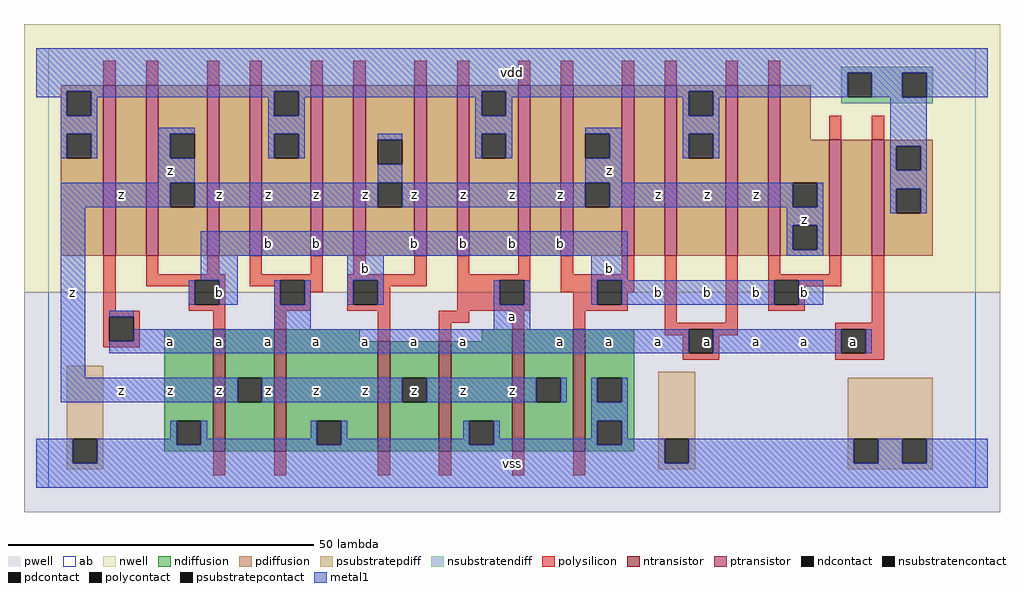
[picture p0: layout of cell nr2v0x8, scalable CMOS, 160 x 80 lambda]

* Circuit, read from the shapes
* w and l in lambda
.subckt nr2v0x8 a b vdd vss z
M1 z b vss vss nfet w=20 l=2 m=2
M2 vss a z vss nfet w=20 l=2 m=2
M3 z b vss vss nfet w=18 l=2
M4 vss a z vss nfet w=18 l=2
M5 n1 a vdd vdd pfet w=28 l=2
M6 z b n1 vdd pfet w=28 l=2
M7 n2 b z vdd pfet w=28 l=2
M8 vdd a n2 vdd pfet w=28 l=2
M9 n3 a vdd vdd pfet w=28 l=2
M10 z b n3 vdd pfet w=28 l=2
M11 n4 b z vdd pfet w=28 l=2
M12 vdd a n4 vdd pfet w=28 l=2
M13 n5 a vdd vdd pfet w=28 l=2
M14 z b n5 vdd pfet w=28 l=2
M15 n6 b z vdd pfet w=28 l=2
M16 vdd a n6 vdd pfet w=28 l=2
M17 n7 a vdd vdd pfet w=28 l=2
M18 z b n7 vdd pfet w=28 l=2
M19 n8 b z vdd pfet w=19 l=2
M20 vdd a n8 vdd pfet w=19 l=2
.ends

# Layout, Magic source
magic
tech scmos
<< ab >>
rect 0 0 152 72
<< pwell >>
rect -4 -4 156 32
<< nwell >>
rect -4 32 156 76
<< polysilicon >>
rect 9 66 11 70
rect 16 66 18 70
rect 26 66 28 70
rect 33 66 35 70
rect 43 66 45 70
rect 50 66 52 70
rect 60 66 62 70
rect 67 66 69 70
rect 77 66 79 70
rect 84 66 86 70
rect 94 66 96 70
rect 101 66 103 70
rect 111 66 113 70
rect 118 66 120 70
rect 128 57 130 61
rect 135 57 137 61
rect 9 29 11 38
rect 16 35 18 38
rect 26 35 28 38
rect 33 35 35 38
rect 43 35 45 38
rect 50 35 52 38
rect 60 35 62 38
rect 16 34 29 35
rect 16 33 24 34
rect 23 30 24 33
rect 28 30 29 34
rect 33 34 45 35
rect 33 33 38 34
rect 23 29 29 30
rect 9 28 15 29
rect 9 24 10 28
rect 14 24 15 28
rect 27 26 29 29
rect 37 30 38 33
rect 42 32 45 34
rect 49 34 62 35
rect 42 30 43 32
rect 37 29 43 30
rect 49 30 50 34
rect 54 33 62 34
rect 67 35 69 38
rect 77 35 79 38
rect 67 34 79 35
rect 54 30 56 33
rect 49 29 56 30
rect 67 30 74 34
rect 78 30 79 34
rect 84 35 86 38
rect 94 35 96 38
rect 84 34 96 35
rect 84 32 90 34
rect 67 29 79 30
rect 86 30 90 32
rect 94 32 96 34
rect 94 30 95 32
rect 86 29 95 30
rect 37 26 39 29
rect 9 23 15 24
rect 54 24 56 29
rect 64 27 69 29
rect 64 24 66 27
rect 76 26 78 29
rect 86 26 88 29
rect 101 27 103 38
rect 111 27 113 38
rect 118 35 120 38
rect 128 35 130 38
rect 118 34 130 35
rect 118 30 119 34
rect 123 33 130 34
rect 123 30 124 33
rect 118 29 124 30
rect 135 27 137 38
rect 101 26 113 27
rect 101 25 105 26
rect 104 22 105 25
rect 109 25 113 26
rect 129 26 137 27
rect 109 22 110 25
rect 104 21 110 22
rect 129 22 130 26
rect 134 22 137 26
rect 129 21 137 22
rect 27 2 29 6
rect 37 2 39 6
rect 54 2 56 6
rect 64 2 66 6
rect 76 2 78 6
rect 86 2 88 6
<< ndiffusion >>
rect 19 11 27 26
rect 19 7 21 11
rect 25 7 27 11
rect 19 6 27 7
rect 29 18 37 26
rect 29 14 31 18
rect 35 14 37 18
rect 29 6 37 14
rect 39 24 51 26
rect 71 24 76 26
rect 39 11 54 24
rect 39 7 44 11
rect 48 7 54 11
rect 39 6 54 7
rect 56 18 64 24
rect 56 14 58 18
rect 62 14 64 18
rect 56 6 64 14
rect 66 11 76 24
rect 66 7 69 11
rect 73 7 76 11
rect 66 6 76 7
rect 78 18 86 26
rect 78 14 80 18
rect 84 14 86 18
rect 78 6 86 14
rect 88 18 96 26
rect 88 14 90 18
rect 94 14 96 18
rect 88 11 96 14
rect 88 7 90 11
rect 94 7 96 11
rect 88 6 96 7
<< pdiffusion >>
rect 2 65 9 66
rect 2 61 3 65
rect 7 61 9 65
rect 2 58 9 61
rect 2 54 3 58
rect 7 54 9 58
rect 2 38 9 54
rect 11 38 16 66
rect 18 58 26 66
rect 18 54 20 58
rect 24 54 26 58
rect 18 50 26 54
rect 18 46 20 50
rect 24 46 26 50
rect 18 38 26 46
rect 28 38 33 66
rect 35 65 43 66
rect 35 61 37 65
rect 41 61 43 65
rect 35 58 43 61
rect 35 54 37 58
rect 41 54 43 58
rect 35 38 43 54
rect 45 38 50 66
rect 52 57 60 66
rect 52 53 54 57
rect 58 53 60 57
rect 52 50 60 53
rect 52 46 54 50
rect 58 46 60 50
rect 52 38 60 46
rect 62 38 67 66
rect 69 65 77 66
rect 69 61 71 65
rect 75 61 77 65
rect 69 58 77 61
rect 69 54 71 58
rect 75 54 77 58
rect 69 38 77 54
rect 79 38 84 66
rect 86 58 94 66
rect 86 54 88 58
rect 92 54 94 58
rect 86 50 94 54
rect 86 46 88 50
rect 92 46 94 50
rect 86 38 94 46
rect 96 38 101 66
rect 103 65 111 66
rect 103 61 105 65
rect 109 61 111 65
rect 103 58 111 61
rect 103 54 105 58
rect 109 54 111 58
rect 103 38 111 54
rect 113 38 118 66
rect 120 57 125 66
rect 120 50 128 57
rect 120 46 122 50
rect 126 46 128 50
rect 120 43 128 46
rect 120 39 122 43
rect 126 39 128 43
rect 120 38 128 39
rect 130 38 135 57
rect 137 56 145 57
rect 137 52 139 56
rect 143 52 145 56
rect 137 49 145 52
rect 137 45 139 49
rect 143 45 145 49
rect 137 38 145 45
<< metal1 >>
rect -2 68 154 72
rect -2 65 131 68
rect -2 64 3 65
rect 2 61 3 64
rect 7 64 37 65
rect 7 61 8 64
rect 2 58 8 61
rect 36 61 37 64
rect 41 64 71 65
rect 41 61 42 64
rect 2 54 3 58
rect 7 54 8 58
rect 18 58 24 59
rect 18 54 20 58
rect 36 58 42 61
rect 70 61 71 64
rect 75 64 105 65
rect 75 61 76 64
rect 70 58 76 61
rect 104 61 105 64
rect 109 64 131 65
rect 135 64 140 68
rect 144 64 154 68
rect 109 61 110 64
rect 36 54 37 58
rect 41 54 42 58
rect 54 57 58 58
rect 18 50 24 54
rect 70 54 71 58
rect 75 54 76 58
rect 88 58 94 59
rect 92 54 94 58
rect 104 58 110 61
rect 104 54 105 58
rect 109 54 110 58
rect 138 56 144 64
rect 54 50 58 53
rect 88 50 94 54
rect 138 52 139 56
rect 143 52 144 56
rect 2 46 20 50
rect 24 46 54 50
rect 58 46 88 50
rect 92 46 122 50
rect 126 46 127 50
rect 2 18 6 46
rect 121 43 127 46
rect 138 49 144 52
rect 138 45 139 49
rect 143 45 144 49
rect 25 38 95 42
rect 121 39 122 43
rect 126 39 127 43
rect 121 38 127 39
rect 25 34 31 38
rect 49 34 55 38
rect 89 34 95 38
rect 23 30 24 34
rect 28 30 31 34
rect 37 30 38 34
rect 42 30 43 34
rect 49 30 50 34
rect 54 30 55 34
rect 73 30 74 34
rect 78 30 79 34
rect 89 30 90 34
rect 94 30 119 34
rect 123 30 127 34
rect 10 28 14 29
rect 37 26 43 30
rect 73 26 79 30
rect 14 24 105 26
rect 10 22 105 24
rect 109 22 130 26
rect 134 22 135 26
rect 2 14 31 18
rect 35 14 58 18
rect 62 14 80 18
rect 84 14 85 18
rect 89 14 90 18
rect 94 14 95 18
rect 89 11 95 14
rect 20 8 21 11
rect -2 4 4 8
rect 8 7 21 8
rect 25 8 26 11
rect 43 8 44 11
rect 25 7 44 8
rect 48 8 49 11
rect 68 8 69 11
rect 48 7 69 8
rect 73 8 74 11
rect 89 8 90 11
rect 73 7 90 8
rect 94 8 95 11
rect 94 7 101 8
rect 8 4 101 7
rect 105 4 132 8
rect 136 4 140 8
rect 144 4 154 8
rect -2 0 154 4
<< ntransistor >>
rect 27 6 29 26
rect 37 6 39 26
rect 54 6 56 24
rect 64 6 66 24
rect 76 6 78 26
rect 86 6 88 26
<< ptransistor >>
rect 9 38 11 66
rect 16 38 18 66
rect 26 38 28 66
rect 33 38 35 66
rect 43 38 45 66
rect 50 38 52 66
rect 60 38 62 66
rect 67 38 69 66
rect 77 38 79 66
rect 84 38 86 66
rect 94 38 96 66
rect 101 38 103 66
rect 111 38 113 66
rect 118 38 120 66
rect 128 38 130 57
rect 135 38 137 57
<< polycontact >>
rect 24 30 28 34
rect 10 24 14 28
rect 38 30 42 34
rect 50 30 54 34
rect 74 30 78 34
rect 90 30 94 34
rect 119 30 123 34
rect 105 22 109 26
rect 130 22 134 26
<< ndcontact >>
rect 21 7 25 11
rect 31 14 35 18
rect 44 7 48 11
rect 58 14 62 18
rect 69 7 73 11
rect 80 14 84 18
rect 90 14 94 18
rect 90 7 94 11
<< pdcontact >>
rect 3 61 7 65
rect 3 54 7 58
rect 20 54 24 58
rect 20 46 24 50
rect 37 61 41 65
rect 37 54 41 58
rect 54 53 58 57
rect 54 46 58 50
rect 71 61 75 65
rect 71 54 75 58
rect 88 54 92 58
rect 88 46 92 50
rect 105 61 109 65
rect 105 54 109 58
rect 122 46 126 50
rect 122 39 126 43
rect 139 52 143 56
rect 139 45 143 49
<< psubstratepcontact >>
rect 4 4 8 8
rect 101 4 105 8
rect 132 4 136 8
rect 140 4 144 8
<< nsubstratencontact >>
rect 131 64 135 68
rect 140 64 144 68
<< psubstratepdiff >>
rect 3 8 9 20
rect 3 4 4 8
rect 8 4 9 8
rect 100 8 106 19
rect 3 3 9 4
rect 100 4 101 8
rect 105 4 106 8
rect 100 3 106 4
rect 131 8 145 18
rect 131 4 132 8
rect 136 4 140 8
rect 144 4 145 8
rect 131 3 145 4
<< nsubstratendiff >>
rect 130 68 145 69
rect 130 64 131 68
rect 135 64 140 68
rect 144 64 145 68
rect 130 63 145 64
<< labels >>
rlabel metal1 12 16 12 16 6 z
rlabel metal1 20 16 20 16 6 z
rlabel metal1 20 24 20 24 6 a
rlabel metal1 4 32 4 32 6 z
rlabel metal1 12 48 12 48 6 z
rlabel metal1 20 52 20 52 6 z
rlabel metal1 28 16 28 16 6 z
rlabel metal1 36 16 36 16 6 z
rlabel metal1 44 16 44 16 6 z
rlabel metal1 28 24 28 24 6 a
rlabel metal1 36 24 36 24 6 a
rlabel metal1 44 24 44 24 6 a
rlabel metal1 28 32 28 32 6 b
rlabel metal1 36 40 36 40 6 b
rlabel metal1 44 40 44 40 6 b
rlabel metal1 28 48 28 48 6 z
rlabel metal1 36 48 36 48 6 z
rlabel metal1 44 48 44 48 6 z
rlabel metal1 52 16 52 16 6 z
rlabel ndcontact 60 16 60 16 6 z
rlabel metal1 68 16 68 16 6 z
rlabel metal1 60 24 60 24 6 a
rlabel metal1 68 24 68 24 6 a
rlabel metal1 52 24 52 24 6 a
rlabel metal1 60 40 60 40 6 b
rlabel metal1 68 40 68 40 6 b
rlabel metal1 52 36 52 36 6 b
rlabel metal1 60 48 60 48 6 z
rlabel metal1 68 48 68 48 6 z
rlabel metal1 52 48 52 48 6 z
rlabel metal1 76 4 76 4 6 vss
rlabel metal1 76 16 76 16 6 z
rlabel metal1 84 24 84 24 6 a
rlabel metal1 92 24 92 24 6 a
rlabel metal1 100 24 100 24 6 a
rlabel metal1 76 28 76 28 6 a
rlabel metal1 100 32 100 32 6 b
rlabel metal1 84 40 84 40 6 b
rlabel metal1 92 36 92 36 6 b
rlabel metal1 76 40 76 40 6 b
rlabel metal1 84 48 84 48 6 z
rlabel metal1 100 48 100 48 6 z
rlabel metal1 92 52 92 52 6 z
rlabel metal1 76 48 76 48 6 z
rlabel metal1 76 68 76 68 6 vdd
rlabel polycontact 108 24 108 24 6 a
rlabel metal1 116 24 116 24 6 a
rlabel metal1 124 24 124 24 6 a
rlabel metal1 124 32 124 32 6 b
rlabel metal1 108 32 108 32 6 b
rlabel metal1 116 32 116 32 6 b
rlabel metal1 124 44 124 44 6 z
rlabel metal1 108 48 108 48 6 z
rlabel metal1 116 48 116 48 6 z
rlabel polycontact 132 24 132 24 6 a
<< end >>
